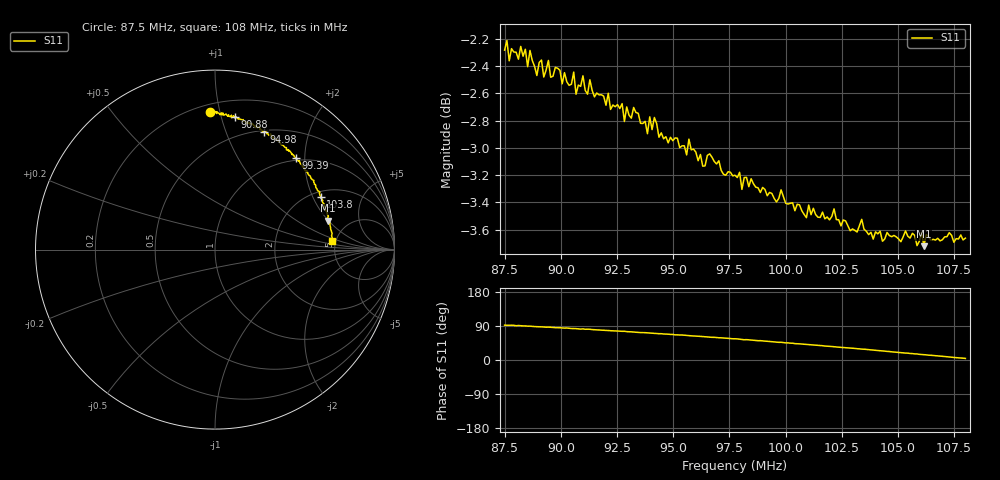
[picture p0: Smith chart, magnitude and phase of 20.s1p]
!Agilent Technologies,N5225A,MY51441201,A.09.90.19
!Agilent N5225A: A.09.90.19
!Date: Wednesday, April 25, 2018 14:52:58
!Correction: S11(Full 1 Port(1))
!S1P File: Measurement: S11:
# Hz S  dB  R 50
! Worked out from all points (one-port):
!   201 points, 87.5 MHz to 108 MHz, reference 50 ohm
!   lowest |S11| = -3.7 dB at 106.2 MHz (marker M1), VSWR 4.74, Z = 178 + j99.5 ohm
!   |S11| at or under -10 dB: nowhere
!   S11 on the Smith chart (normalised r, x): 87.5 MHz: 0.25, +0.94; 90.88 MHz: 0.33, +1.11; 94.98 MHz: 0.51, +1.37; 99.39 MHz: 0.96, +1.82; 103.8 MHz: 2.21, +2.31; 108 MHz: 4.68, +0.78
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8.75e7  -2.28 92.0
8.84225e7  -2.28 89.9
8.8525e7  -2.41 89.3
8.86275e7  -2.29 89.3
8.92425e7  -2.48 87.2
8.94475e7  -2.36 86.7
9.00625e7  -2.53 84.5
9.0575e7  -2.44 83.0
9.06775e7  -2.61 82.9
9.08825e7  -2.55 81.5
9.0985e7  -2.47 82.2
9.10875e7  -2.58 81.1
9.12925e7  -2.50 81.1
9.14975e7  -2.63 79.9
9.2625e7  -2.71 76.1
9.41625e7  -2.78 70.4
9.49825e7  -2.95 67.4
9.51875e7  -2.93 66.3
9.775e7  -3.20 56.1
9.816e7  -3.22 53.4
9.939e7  -3.34 48.4
1.003125e8  -3.40 44.3
1.021575e8  -3.45 34.9
1.02875e8  -3.61 31.6
1.037975e8  -3.62 26.6
1.054375e8  -3.65 18.1
1.06155e8  -3.72 14.3
1.08e8  -3.66 4.1
